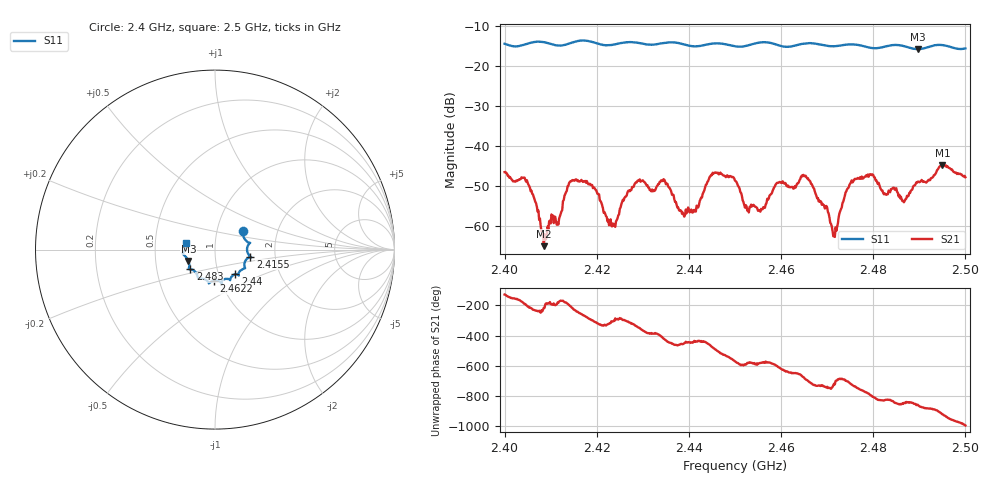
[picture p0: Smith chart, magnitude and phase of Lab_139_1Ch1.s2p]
# Hz S RI R 50
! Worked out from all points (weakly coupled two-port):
!   601 points, 2.4 GHz to 2.5 GHz, reference 50 ohm
!   highest |S21| = -44.85 dB at 2.495 GHz (marker M1); lowest = -65.2 dB at 2.4085 GHz (marker M2)
!   lowest |S11| = -15.9 dB at 2.4897 GHz (marker M3), VSWR 1.38, Z = 36.9 - j4.82 ohm
!   |S11| at or under -10 dB: start of sweep to end of sweep
!   S12 and S22 are empty: the file has one direction only
!   S11 on the Smith chart (normalised r, x): 2.4 GHz: 1.33, +0.29; 2.4155 GHz: 1.49, -0.12; 2.44 GHz: 1.20, -0.34; 2.4622 GHz: 0.93, -0.33; 2.483 GHz: 0.74, -0.17; 2.5 GHz: 0.72, +0.06
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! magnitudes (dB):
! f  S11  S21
! 2.4 GHz  -14.5  -46.6
! 2.4048 GHz  -14.5  -48.7
! 2.4085 GHz  -14.1  -65.2
! 2.4155 GHz  -13.9  -48.5
! 2.4167 GHz  -13.7  -48.6
! 2.4237 GHz  -14.7  -60.0
! 2.4288 GHz  -14.3  -48.8
! 2.4333 GHz  -14.6  -49.6
! 2.44 GHz  -15.0  -56.1
! 2.4452 GHz  -14.5  -46.8
! 2.45 GHz  -15.1  -48.8
! 2.4527 GHz  -15.0  -56.3
! 2.4622 GHz  -15.2  -50.4
! 2.4667 GHz  -14.4  -49.7
! 2.4715 GHz  -15.1  -62.0
! 2.4757 GHz  -14.7  -48.9
! 2.483 GHz  -15.1  -52.2
! 2.4833 GHz  -15.0  -51.3
! 2.4867 GHz  -15.1  -54.2
! 2.4897 GHz  -15.9  -49.0
! 2.495 GHz  -14.8  -44.9
! 2.5 GHz  -15.7  -47.9
